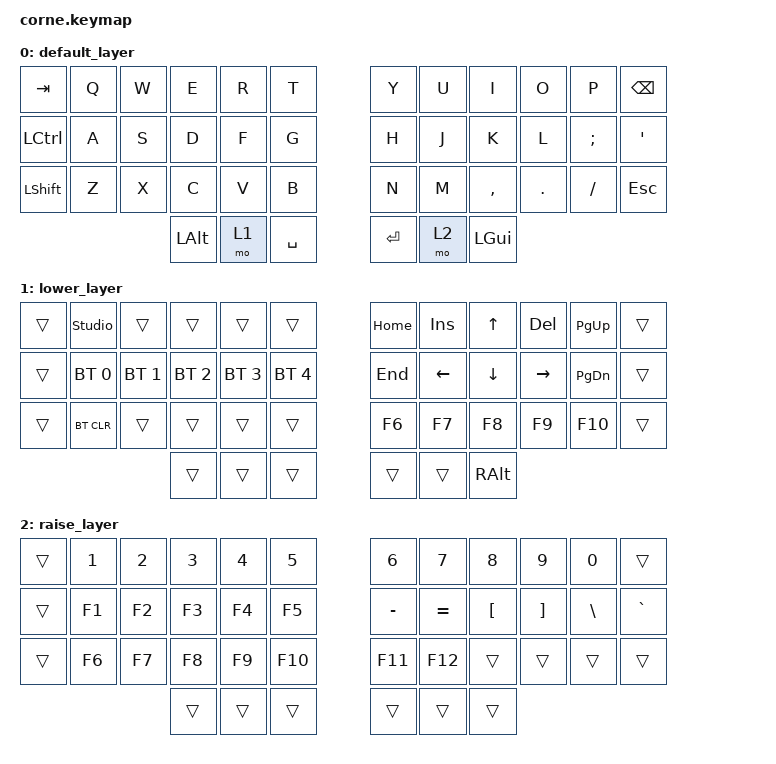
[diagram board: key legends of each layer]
/*
 * Copyright (c) 2020 The ZMK Contributors
 *
 * SPDX-License-Identifier: MIT
 */

#include <behaviors.dtsi>
#include <dt-bindings/zmk/bt.h>
#include <dt-bindings/zmk/keys.h>

/ {
    keymap {
        compatible = "zmk,keymap";

        default_layer {
            // -----------------------------------------------------------------------------------------
            // |  TAB |  Q  |  W  |  E  |  R  |  T  |   |  Y  |  U   |  I  |  O  |  P  | BSPC |
            // | CTRL |  A  |  S  |  D  |  F  |  G  |   |  H  |  J   |  K  |  L  |  ;  |  '   |
            // | SHFT |  Z  |  X  |  C  |  V  |  B  |   |  N  |  M   |  ,  |  .  |  /  | ESC  |
            //                    | GUI | LWR | SPC |   | ENT | RSE  | ALT |

            bindings = <
&kp TAB     &kp Q  &kp W  &kp E         &kp R  &kp T        &kp Y      &kp U  &kp I         &kp O    &kp P     &kp BACKSPACE
&kp LCTRL   &kp A  &kp S  &kp D         &kp F  &kp G        &kp H      &kp J  &kp K         &kp L    &kp SEMI  &kp APOS
&kp LSHIFT  &kp Z  &kp X  &kp C         &kp V  &kp B        &kp N      &kp M  &kp COMMA     &kp DOT  &kp FSLH  &kp ESC
                          &kp LEFT_ALT  &mo 1  &kp SPACE    &kp ENTER  &mo 2  &kp LEFT_GUI
            >;
        };

        lower_layer {
            // -----------------------------------------------------------------------------------------
            // |  TAB |  1  |  2  |  3  |  4  |  5  |   |  6  |  7  |  8  |  9  |  0  | BSPC |
            // | BTCLR| BT1 | BT2 | BT3 | BT4 | BT5 |   | LFT | DWN |  UP | RGT |     |      |
            // | SHFT |     |     |     |     |     |   |     |     |     |     |     |      |
            //                    | GUI |     | SPC |   | ENT |     | ALT |

            bindings = <
&trans  &studio_unlock  &trans        &trans        &trans        &trans          &kp HOME  &kp INS   &kp UP    &kp DEL    &kp PG_UP  &trans
&trans  &bt BT_SEL 0    &bt BT_SEL 1  &bt BT_SEL 2  &bt BT_SEL 3  &bt BT_SEL 4    &kp END   &kp LEFT  &kp DOWN  &kp RIGHT  &kp PG_DN  &trans
&trans  &bt BT_CLR      &trans        &trans        &trans        &trans          &kp F6    &kp F7    &kp F8    &kp F9     &kp F10    &trans
                                      &trans        &trans        &trans          &trans    &trans    &kp RALT
            >;
        };

        raise_layer {
            bindings = <
&trans  &kp N1  &kp N2  &kp N3  &kp N4  &kp N5     &kp N6     &kp N7     &kp N8    &kp N9    &kp N0    &trans
&trans  &kp F1  &kp F2  &kp F3  &kp F4  &kp F5     &kp MINUS  &kp EQUAL  &kp LBKT  &kp RBKT  &kp BSLH  &kp GRAVE
&trans  &kp F6  &kp F7  &kp F8  &kp F9  &kp F10    &kp F11    &kp F12    &trans    &trans    &trans    &trans
                        &trans  &trans  &trans     &trans     &trans     &trans
            >;
        };
    };
};
